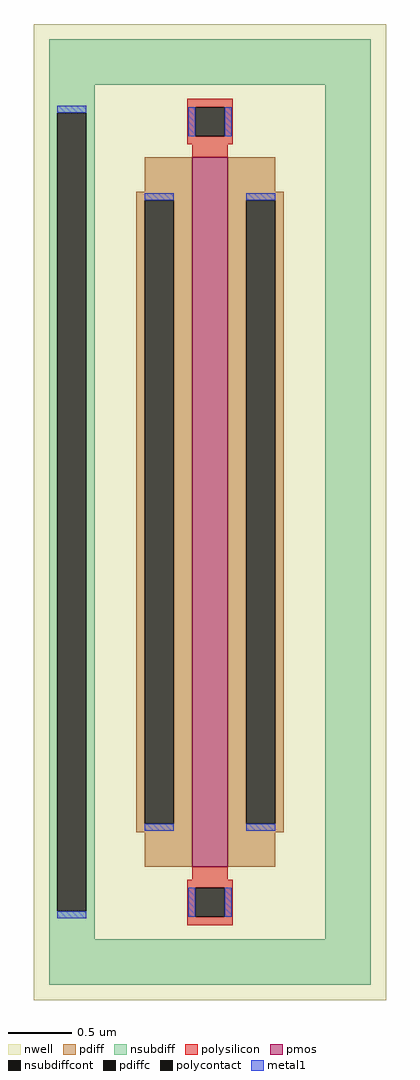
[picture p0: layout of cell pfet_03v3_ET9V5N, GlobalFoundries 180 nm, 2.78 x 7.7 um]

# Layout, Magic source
magic
tech gf180mcuD
magscale 1 10
<< nwell >>
rect -278 -770 278 770
<< pmos >>
rect -28 -560 28 560
<< pdiff >>
rect -103 505 -28 560
rect -116 492 -28 505
rect -116 -492 -103 492
rect -57 -492 -28 492
rect -116 -505 -28 -492
rect -103 -560 -28 -505
rect 28 505 103 560
rect 28 492 116 505
rect 28 -492 57 492
rect 103 -492 116 492
rect 28 -505 116 -492
rect 28 -560 103 -505
<< pdiffc >>
rect -103 -492 -57 492
rect 57 -492 103 492
<< nsubdiff >>
rect -254 674 254 746
rect -254 630 -182 674
rect -254 -630 -241 630
rect -195 -630 -182 630
rect -254 -674 -182 -630
rect 182 -674 254 674
rect -254 -746 254 -674
<< nsubdiffcont >>
rect -241 -630 -195 630
<< polysilicon >>
rect -36 639 36 652
rect -36 593 -23 639
rect 23 593 36 639
rect -36 580 36 593
rect -28 560 28 580
rect -28 -580 28 -560
rect -36 -593 36 -580
rect -36 -639 -23 -593
rect 23 -639 36 -593
rect -36 -652 36 -639
<< polycontact >>
rect -23 593 23 639
rect -23 -639 23 -593
<< metal1 >>
rect -241 630 -195 641
rect -34 593 -23 639
rect 23 593 34 639
rect -103 492 -57 503
rect -103 -503 -57 -492
rect 57 492 103 503
rect 57 -503 103 -492
rect -241 -641 -195 -630
rect -34 -639 -23 -593
rect 23 -639 34 -593
<< properties >>
string FIXED_BBOX -218 -710 218 710
string gencell pfet_03v3
string library gf180mcu
string parameters w 5.6 l 0.280 m 1 nf 1 diffcov 90 polycov 100 guard 1 glc 1 grc 0 gtc 0 gbc 0 tbcov 100 rlcov 100 topc 1 botc 1 poverlap 0 doverlap 1 lmin 0.28 wmin 0.22 class mosfet full_metal 0 compatible {pfet_03v3 pfet_05v0 pfet_06v0}
<< end >>
